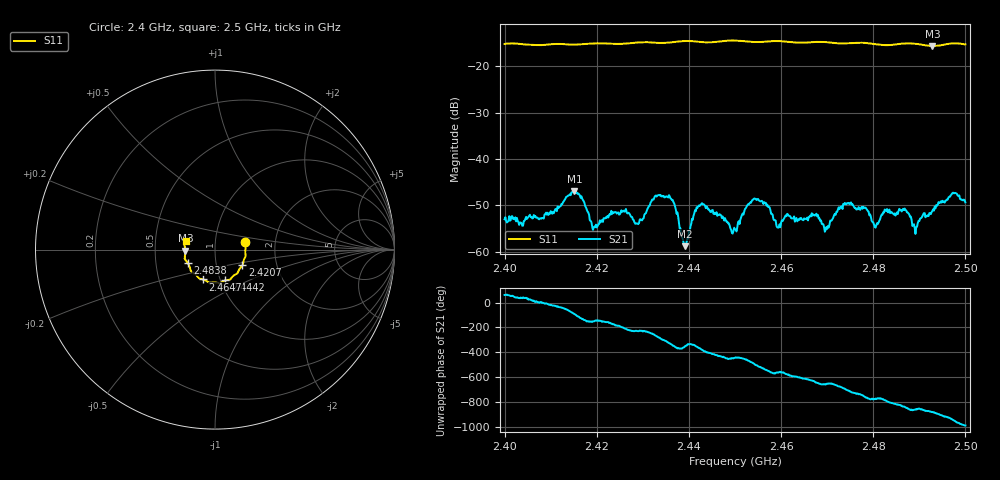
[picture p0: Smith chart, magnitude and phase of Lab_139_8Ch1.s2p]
# Hz S RI R 50
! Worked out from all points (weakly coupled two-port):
!   601 points, 2.4 GHz to 2.5 GHz, reference 50 ohm
!   highest |S21| = -46.99 dB at 2.4152 GHz (marker M1); lowest = -58.8 dB at 2.4392 GHz (marker M2)
!   lowest |S11| = -15.6 dB at 2.4928 GHz (marker M3), VSWR 1.40, Z = 35.8 - j0.432 ohm
!   |S11| at or under -10 dB: start of sweep to end of sweep
!   S12 and S22 are empty: the file has one direction only
!   S11 on the Smith chart (normalised r, x): 2.4 GHz: 1.40, +0.12; 2.4207 GHz: 1.34, -0.24; 2.4442 GHz: 1.05, -0.37; 2.4647 GHz: 0.83, -0.29; 2.4838 GHz: 0.73, -0.11; 2.5 GHz: 0.71, +0.07
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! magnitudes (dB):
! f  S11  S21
! 2.4 GHz  -15.2  -53.0
! 2.4152 GHz  -15.4  -47.0
! 2.4167 GHz  -15.3  -48.0
! 2.4207 GHz  -15.1  -53.2
! 2.4287 GHz  -14.9  -53.9
! 2.4333 GHz  -15.0  -47.8
! 2.4363 GHz  -14.8  -48.9
! 2.4392 GHz  -14.6  -58.8
! 2.4417 GHz  -14.7  -50.4
! 2.4442 GHz  -14.9  -50.9
! 2.45 GHz  -14.5  -55.1
! 2.4543 GHz  -14.8  -48.6
! 2.4593 GHz  -14.6  -54.8
! 2.4647 GHz  -14.9  -53.2
! 2.4667 GHz  -14.8  -51.7
! 2.4698 GHz  -14.8  -54.7
! 2.474 GHz  -15.1  -49.7
! 2.4833 GHz  -15.5  -51.5
! 2.4838 GHz  -15.4  -51.4
! 2.489 GHz  -15.1  -54.9
! 2.4928 GHz  -15.6  -51.2
! 2.5 GHz  -15.3  -49.4
